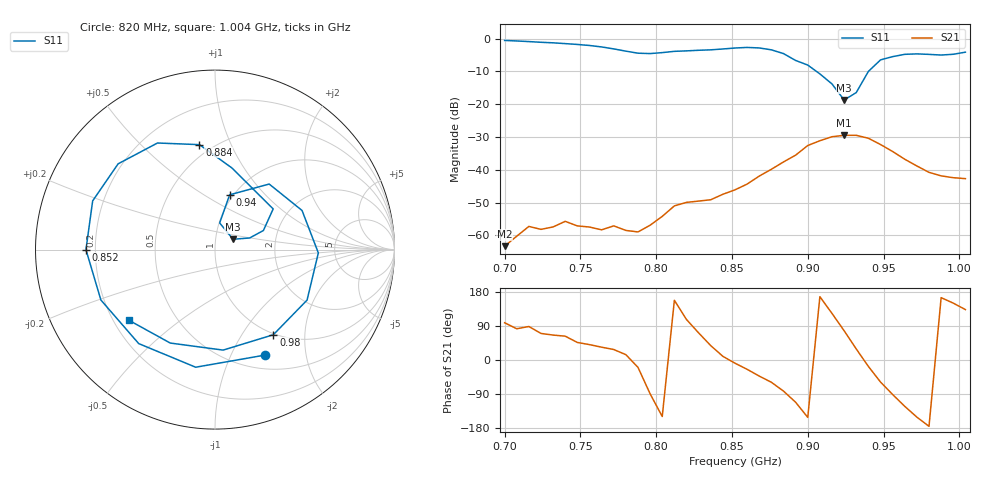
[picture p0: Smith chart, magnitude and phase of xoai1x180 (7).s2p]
# Hz S RI R 50
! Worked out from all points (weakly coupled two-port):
!   39 points, 700 MHz to 1.004 GHz, reference 50 ohm
!   highest |S21| = -29.48 dB at 924 MHz (marker M1); lowest = -63.3 dB at 700 MHz (marker M2)
!   lowest |S11| = -18.7 dB at 924 MHz (marker M3), VSWR 1.26, Z = 60.7 + j7.1 ohm
!   |S11| at or under -10 dB: 905.8 MHz to 940 MHz (34.24 MHz wide, 3.71 % of centre)
!   S12 and S22 are empty: the file has one direction only
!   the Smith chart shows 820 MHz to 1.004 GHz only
!   S11 on the Smith chart (normalised r, x): 820 MHz: 0.67, -1.36; 852 MHz: 0.16, -0.00; 884 MHz: 0.43, +0.77; 940 MHz: 0.96, +0.65; 980 MHz: 0.98, -1.39; 1.004 GHz: 0.26, -0.33
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7e8  0.7586 0.5506  -9.91e-05 0.000679  0 0  0 0
7.24e8  0.8435 -0.2484  0.000421 0.00116  0 0  0 0
7.4e8  0.4591 -0.7023  0.000749 0.00146  0 0  0 0
7.56e8  -0.1911 -0.7623  0.00102 0.000874  0 0  0 0
7.72e8  -0.6679 -0.1996  0.00124 0.00065  0 0  0 0
7.8e8  -0.6028 0.2277  0.00116 0.000289  0 0  0 0
7.88e8  -0.251 0.5445  0.00107 -0.000377  0 0  0 0
7.96e8  0.249 0.5363  1.97e-05 -0.00143  0 0  0 0
8.04e8  0.5854 0.1776  -0.00168 -0.001  0 0  0 0
8.2e8  0.2786 -0.5878  -0.000924 0.00306  0 0  0 0
8.36e8  -0.4251 -0.5237  0.00276 0.00215  0 0  0 0
8.52e8  -0.719 -0.000513  0.0049 -0.000733  0 0  0 0
8.68e8  -0.5398 0.4779  0.00593 -0.00542  0 0  0 0
8.84e8  -0.0866 0.5847  0.00182 -0.0131  0 0  0 0
9e8  0.3241 0.2266  -0.0206 -0.0113  0 0  0 0
9.08e8  0.2698 0.1065  -0.0271 0.00624  0 0  0 0
9.24e8  0.1004 0.0577  0.00744 0.0328  0 0  0 0
9.4e8  0.0816 0.3054  0.029 -0.00885  0 0  0 0
9.56e8  0.485 0.2179  -0.000363 -0.019  0 0  0 0
9.64e8  0.5758 -0.0185  -0.00776 -0.0123  0 0  0 0
9.8e8  0.3249 -0.4744  -0.00912 -0.00079  0 0  0 0
1.004e9  -0.4815 -0.3927  -0.00502 0.00537  0 0  0 0
